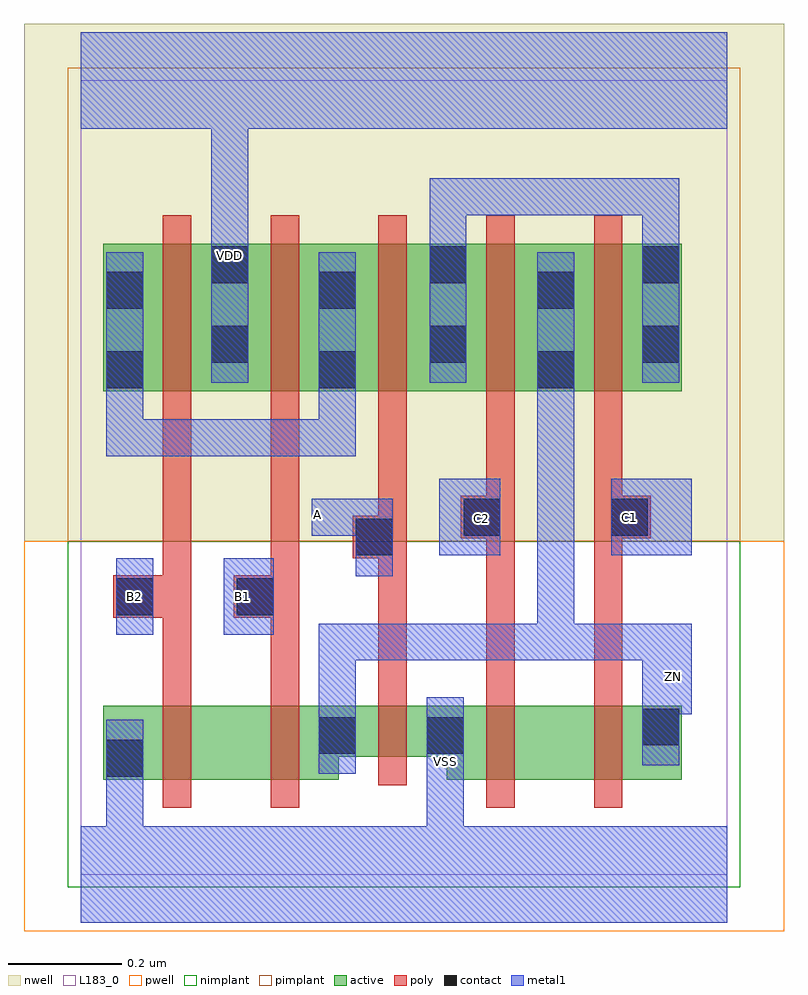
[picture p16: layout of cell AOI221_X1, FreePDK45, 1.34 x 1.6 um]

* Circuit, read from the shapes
.subckt AOI221_X1 A B1 B2 C1 C2 VDD VSS ZN
M1 n1 B2 VSS VSUBS nfet w=0.13u l=0.05u
M2 ZN B1 n1 VSUBS nfet w=0.13u l=0.05u
M3 VSS A ZN VSUBS nfet w=0.09u l=0.05u
M4 n2 C2 VSS VSUBS nfet w=0.13u l=0.05u
M5 ZN C1 n2 VSUBS nfet w=0.13u l=0.05u
M6 VDD B2 n3 n4 pfet w=0.26u l=0.05u
M7 n3 B1 VDD n4 pfet w=0.26u l=0.05u
M8 n5 A n3 n4 pfet w=0.26u l=0.05u
M9 ZN C2 n5 n4 pfet w=0.26u l=0.05u
M10 n5 C1 ZN n4 pfet w=0.26u l=0.05u
.ends

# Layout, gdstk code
import gdstk
lib = gdstk.Library(unit=1e-6, precision=1e-10)
def R(c, l, rs):  # rectangles x0, y0, x1, y1
    for r in rs: c.add(gdstk.rectangle(r[:2], r[2:], *l))
def P(c, l, *ps):  # polygons
    for p in ps: c.add(gdstk.Polygon(p, *l))
active = (1, 0)
pwell = (2, 0)
nwell = (3, 0)
nimplant = (4, 0)
pimplant = (5, 0)
poly = (9, 0)
contact = (10, 0)
metal1 = (11, 0)
L183_0 = (183, 0)

aoi221_x1 = lib.new_cell('AOI221_X1')
R(aoi221_x1, active, [(0.04,0.8525,1.06,1.1125)])
P(aoi221_x1, active, [(0.04,0.1675),(0.455,0.1675),(0.455,0.2075),(0.645,0.2075),(0.645,0.1675),(1.06,0.1675),(1.06,0.2975),(0.04,0.2975)])
R(aoi221_x1, pwell, [(-0.1,-0.1,1.24,0.5875)])
R(aoi221_x1, nwell, [(-0.1,0.5875,1.24,1.5)])
R(aoi221_x1, nimplant, [(-0.0225,-0.0225,1.1625,0.5875)])
R(aoi221_x1, pimplant, [(-0.0225,0.5875,1.1625,1.4225)])
P(aoi221_x1, poly, [(0.0575,0.4525),(0.145,0.4525),(0.145,0.1175),(0.195,0.1175),(0.195,1.1625),(0.145,1.1625),(0.145,0.5275),(0.0575,0.5275)],
  [(0.27,0.4525),(0.335,0.4525),(0.335,0.1175),(0.385,0.1175),(0.385,1.1625),(0.335,1.1625),(0.335,0.5275),(0.27,0.5275)],
  [(0.48,0.5575),(0.525,0.5575),(0.525,0.1575),(0.575,0.1575),(0.575,1.1625),(0.525,1.1625),(0.525,0.6325),(0.48,0.6325)],
  [(0.67,0.5925),(0.715,0.5925),(0.715,0.1175),(0.765,0.1175),(0.765,1.1625),(0.715,1.1625),(0.715,0.6675),(0.67,0.6675)],
  [(0.905,0.1175),(0.955,0.1175),(0.955,0.5925),(1.005,0.5925),(1.005,0.6675),(0.955,0.6675),(0.955,1.1625),(0.905,1.1625)])
R(aoi221_x1, contact, [(0.045,0.1725,0.11,0.2375), (0.42,0.2125,0.485,0.2775), (0.61,0.2125,0.675,0.2775), (0.99,0.2275,1.055,0.2925), (0.0625,0.4575,0.1275,0.5225), (0.275,0.4575,0.34,0.5225), (0.485,0.5625,0.55,0.6275), (0.675,0.5975,0.74,0.6625), (0.935,0.5975,1,0.6625), (0.045,0.8575,0.11,0.9225), (0.42,0.8575,0.485,0.9225), (0.805,0.8575,0.87,0.9225), (0.23,0.9025,0.295,0.9675), (0.615,0.9025,0.68,0.9675), (0.99,0.9025,1.055,0.9675), (0.045,0.9975,0.11,1.0625), (0.42,0.9975,0.485,1.0625), (0.805,0.9975,0.87,1.0625), (0.23,1.0425,0.295,1.1075), (0.615,1.0425,0.68,1.1075), (0.99,1.0425,1.055,1.1075)])
R(aoi221_x1, metal1, [(0.0625,0.4225,0.1275,0.5575), (0.2525,0.4225,0.34,0.5575), (0.6325,0.5625,0.74,0.6975), (0.935,0.5625,1.0775,0.6975)])
P(aoi221_x1, metal1, [(0.045,0.7375),(0.485,0.7375),(0.485,1.0975),(0.42,1.0975),(0.42,0.8025),(0.11,0.8025),(0.11,1.0975),(0.045,1.0975)],
  [(0.4075,0.5975),(0.485,0.5975),(0.485,0.526),(0.55,0.526),(0.55,0.6625),(0.4075,0.6625)],
  [(0.615,0.8675),(0.68,0.8675),(0.68,1.1625),(0.99,1.1625),(0.99,0.8675),(1.055,0.8675),(1.055,1.2275),(0.615,1.2275)],
  [(0.42,0.1775),(0.485,0.1775),(0.485,0.3775),(0.99,0.3775),(0.99,0.1925),(1.055,0.1925),(1.055,0.2825),(1.0775,0.2825),(1.0775,0.4425),(0.87,0.4425),(0.87,1.0975),(0.805,1.0975),(0.805,0.4425),(0.42,0.4425)],
  [(0,-0.085),(1.14,-0.085),(1.14,0.085),(0.675,0.085),(0.675,0.3125),(0.61,0.3125),(0.61,0.085),(0.11,0.085),(0.11,0.2725),(0.045,0.2725),(0.045,0.085),(0,0.085)],
  [(0,1.315),(0.23,1.315),(0.23,0.8675),(0.295,0.8675),(0.295,1.315),(1.14,1.315),(1.14,1.485),(0,1.485)])
R(aoi221_x1, L183_0, [(0,0,1.14,1.4)])
aoi221_x1.add(gdstk.Label('A', (0.4175,0.634), layer=11, texttype=0))
aoi221_x1.add(gdstk.Label('B1', (0.285,0.49), layer=11, texttype=0))
aoi221_x1.add(gdstk.Label('B2', (0.095,0.49), layer=11, texttype=0))
aoi221_x1.add(gdstk.Label('C1', (0.9675,0.63), layer=11, texttype=0))
aoi221_x1.add(gdstk.Label('C2', (0.7075,0.627), layer=11, texttype=0))
aoi221_x1.add(gdstk.Label('VDD', (0.2625,1.0912), layer=11, texttype=0))
aoi221_x1.add(gdstk.Label('VSS', (0.6425,0.1987), layer=11, texttype=0))
aoi221_x1.add(gdstk.Label('ZN', (1.045,0.35), layer=11, texttype=0))

lib.write_gds('AOI221_X1.gds')
